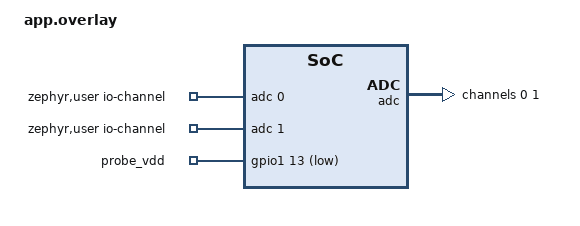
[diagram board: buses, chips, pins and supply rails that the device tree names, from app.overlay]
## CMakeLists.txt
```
#
# Copyright (c) 2024 Olivier DEBON
# SPDX-License-Identifier: AGPL-3.0-or-later
#

cmake_minimum_required(VERSION 3.20.0)

set(DTC_OVERLAY_FILE "app.overlay")
set(BOARD "nrf52840dk_nrf52840")
set(CONF_FILE "prj_power_saving.conf")

find_package(Zephyr REQUIRED HINTS $ENV{ZEPHYR_BASE})

project("Zigbee application Swift Soil Moisture Sensor")

target_sources(app PRIVATE
  src/main.c
  src/adc.c
)

target_include_directories(app PRIVATE include)
```

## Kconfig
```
#
# Copyright (c) 2024 Olivier DEBON
# SPDX-License-Identifier: AGPL-3.0-or-later
#

source "Kconfig.zephyr"

config PROBE_INTERVAL
	int "Probe interval time (seconds)"
	default 1800
```

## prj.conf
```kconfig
#
# Copyright (c) 2024 Olivier DEBON
# SPDX-License-Identifier: AGPL-3.0-or-later
#

CONFIG_NCS_SAMPLES_DEFAULTS=y

# Do not use external 32768Hz xtal
CONFIG_CLOCK_CONTROL_NRF_K32SRC_RC=y
CONFIG_CLOCK_CONTROL_NRF_K32SRC_XTAL=n

CONFIG_PROBE_INTERVAL=60

# LOG configuration
CONFIG_LOG_MODE_DEFERRED=y
CONFIG_LOG_BUFFER_SIZE=4096
CONFIG_LOG_PROCESS_THREAD_STACK_SIZE=1024
CONFIG_LOG_PROCESS_THREAD_STARTUP_DELAY_MS=1000

# Configure serial
CONFIG_UART_INTERRUPT_DRIVEN=y
CONFIG_SERIAL=y
CONFIG_GPIO=y

# Config Analog Digital Converter
CONFIG_ADC=y

# Make sure printk is not printing to the UART console
CONFIG_CONSOLE=y
CONFIG_UART_CONSOLE=y

CONFIG_HEAP_MEM_POOL_SIZE=2048
CONFIG_MAIN_THREAD_PRIORITY=7

CONFIG_ZIGBEE=y
CONFIG_ZIGBEE_APP_UTILS=y
CONFIG_ZIGBEE_ROLE_END_DEVICE=y
CONFIG_ZIGBEE_CHANNEL_SELECTION_MODE_MULTI=y

# Enable DK LED and Buttons library
CONFIG_DK_LIBRARY=y

# This example requires more workqueue stack
CONFIG_SYSTEM_WORKQUEUE_STACK_SIZE=2048

# Enable nRF ECB driver
CONFIG_CRYPTO=y
CONFIG_CRYPTO_NRF_ECB=y
CONFIG_CRYPTO_INIT_PRIORITY=80

# Networking
CONFIG_NET_IPV6=n
CONFIG_NET_IP_ADDR_CHECK=n
CONFIG_NET_UDP=n

# Enable this to duplicate Zephyr logs to default Logger serial backend,
# usually connected to on-board JLink device.
# CONFIG_LOG_BACKEND_UART=y
```

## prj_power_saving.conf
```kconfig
#
# Copyright (c) 2024 Olivier DEBON
# SPDX-License-Identifier: AGPL-3.0-or-later
#

# Do not use external 32768Hz xtal
CONFIG_CLOCK_CONTROL_NRF_K32SRC_RC=y
CONFIG_CLOCK_CONTROL_NRF_K32SRC_XTAL=n

# Power saving
CONFIG_RAM_POWER_DOWN_LIBRARY=y

# Configure serial
CONFIG_SERIAL=n
CONFIG_GPIO=y
CONFIG_CONSOLE=n
CONFIG_UART_CONSOLE=n

# Config Analog Digital Converter
CONFIG_ADC=y

CONFIG_HEAP_MEM_POOL_SIZE=2048
CONFIG_MAIN_THREAD_PRIORITY=7

CONFIG_ZIGBEE=y
CONFIG_ZIGBEE_APP_UTILS=y
CONFIG_ZIGBEE_ROLE_END_DEVICE=y
CONFIG_ZIGBEE_CHANNEL_SELECTION_MODE_MULTI=y

# Enable DK LED and Buttons library
CONFIG_DK_LIBRARY=y

# This example requires more workqueue stack
CONFIG_SYSTEM_WORKQUEUE_STACK_SIZE=2048

# Enable nRF ECB driver
CONFIG_CRYPTO=y
CONFIG_CRYPTO_NRF_ECB=y
CONFIG_CRYPTO_INIT_PRIORITY=80

# Networking
CONFIG_NET_IPV6=n
CONFIG_NET_IP_ADDR_CHECK=n
CONFIG_NET_UDP=n
```

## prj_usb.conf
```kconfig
#
# Copyright (c) 2022 Nordic Semiconductor ASA
#
# SPDX-License-Identifier: LicenseRef-Nordic-5-Clause
#

CONFIG_NCS_SAMPLES_DEFAULTS=y

# LOG configuration
CONFIG_LOG_MODE_DEFERRED=y
CONFIG_LOG_BUFFER_SIZE=4096
CONFIG_LOG_PROCESS_THREAD_STACK_SIZE=1024
CONFIG_LOG_PROCESS_THREAD_STARTUP_DELAY_MS=1000

# Configure serial
CONFIG_UART_INTERRUPT_DRIVEN=y
CONFIG_SERIAL=y
CONFIG_GPIO=y

# Config Analog Digital Converter
CONFIG_ADC=y

# Make sure printk is not printing to the UART console
CONFIG_CONSOLE=y
CONFIG_UART_CONSOLE=y

CONFIG_HEAP_MEM_POOL_SIZE=2048
CONFIG_MAIN_THREAD_PRIORITY=7

CONFIG_ZIGBEE=y
CONFIG_ZIGBEE_APP_UTILS=y
CONFIG_ZIGBEE_ROLE_END_DEVICE=y
CONFIG_ZIGBEE_CHANNEL_SELECTION_MODE_MULTI=y

# Enable DK LED and Buttons library
CONFIG_DK_LIBRARY=y

# This example requires more workqueue stack
CONFIG_SYSTEM_WORKQUEUE_STACK_SIZE=2048

# Enable nRF ECB driver
CONFIG_CRYPTO=y
CONFIG_CRYPTO_NRF_ECB=y
CONFIG_CRYPTO_INIT_PRIORITY=80

# Networking
CONFIG_NET_IPV6=n
CONFIG_NET_IP_ADDR_CHECK=n
CONFIG_NET_UDP=n

# USB subsystem configuration
CONFIG_USB_DEVICE_STACK=y
CONFIG_USB_DEVICE_REMOTE_WAKEUP=n
CONFIG_USB_DEVICE_PRODUCT="Zigbee Template"
CONFIG_USB_CDC_ACM=y
CONFIG_UART_LINE_CTRL=y
# Initialize USB device as soon as possible as the USB CDC ACM is used
# as backend for both Shell and Logging subsystems.
CONFIG_USB_DEVICE_INITIALIZE_AT_BOOT=y

# Enable this to duplicate Zephyr logs to default Logger serial backend,
# usually connected to on-board JLink device.
CONFIG_LOG_BACKEND_UART=y
```

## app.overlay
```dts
/*
 * Copyright (c) 2024 Olivier DEBON
 *
 * Modifications on Nordic examples for this application
 * SPDX-License-Identifier: AGPL-3.0-or-later
 */

&adc {
        #address-cells = <1>;
        #size-cells = <0>;

        channel@0 {
                reg = <0>;
                zephyr,gain = "ADC_GAIN_1_6";
                zephyr,reference = "ADC_REF_INTERNAL";
                zephyr,acquisition-time = <ADC_ACQ_TIME_DEFAULT>;
                zephyr,input-positive = <NRF_SAADC_AIN0>; /* P0.02 */
                zephyr,resolution = <12>;
        };

        channel@1 {
                reg = <1>;
                zephyr,gain = "ADC_GAIN_1_6";
                zephyr,reference = "ADC_REF_INTERNAL";
                zephyr,acquisition-time = <ADC_ACQ_TIME_DEFAULT>;
                zephyr,input-positive = <NRF_SAADC_AIN1>; /* P0.03 */
                zephyr,resolution = <12>;
        };
};

/ {
	zephyr,user {
                io-channels = <&adc 0>, <&adc 1>;
        };

	gpiocustom {
		compatible = "gpio-keys";
		probe_vdd: gpio1_13 {
		    gpios = <&gpio1 13 GPIO_ACTIVE_LOW>;
		};
	};
};
```

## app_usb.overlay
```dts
/*
 * Copyright (c) 2022 Nordic Semiconductor ASA
 *
 * SPDX-License-Identifier: LicenseRef-Nordic-5-Clause
 */

&zephyr_udc0 {
	cdc_acm_uart: cdc_acm_uart {
		compatible = "zephyr,cdc-acm-uart";
	};
};

&adc {
        #address-cells = <1>;
        #size-cells = <0>;

        channel@0 {
                reg = <0>;
                zephyr,gain = "ADC_GAIN_1_6";
                zephyr,reference = "ADC_REF_INTERNAL";
                zephyr,acquisition-time = <ADC_ACQ_TIME_DEFAULT>;
                zephyr,input-positive = <NRF_SAADC_AIN0>; /* P0.02 */
                zephyr,resolution = <12>;
        };

        channel@1 {
                reg = <1>;
                zephyr,gain = "ADC_GAIN_1_6";
                zephyr,reference = "ADC_REF_INTERNAL";
                zephyr,acquisition-time = <ADC_ACQ_TIME_DEFAULT>;
                zephyr,input-positive = <NRF_SAADC_AIN1>; /* P0.03 */
                zephyr,resolution = <12>;
        };
};

/ {
	zephyr,user {
                io-channels = <&adc 0>, <&adc 1>;
        };

	gpiocustom {
		compatible = "gpio-keys";
		probe_vdd: gpio1_15 {
		    gpios = <&gpio1 15 GPIO_ACTIVE_LOW>;
		};
	};
};
```

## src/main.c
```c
/*
 * Copyright (c) 2021 Nordic Semiconductor ASA
 *
 * SPDX-License-Identifier: LicenseRef-Nordic-5-Clause
 */

/*
 * Copyright (c) 2024 Olivier DEBON
 *
 * Modifications on Nordic examples for this application
 * SPDX-License-Identifier: AGPL-3.0-or-later
 */

/** @file
 *
 * @brief Zigbee application swift.
 */

#include <zephyr/kernel.h>
#include <zephyr/logging/log.h>
#include <zephyr/drivers/gpio.h>
#include <zephyr/sys/reboot.h>
#include <dk_buttons_and_leds.h>
#include <ram_pwrdn.h>

#include <stdlib.h>
#include <zboss_api.h>
#include <zboss_api_addons.h>
#include <zigbee/zigbee_error_handler.h>
#include <zigbee/zigbee_app_utils.h>
#include <zb_nrf_platform.h>
#include "zb_swift_device.h"
#include "adc.h"

static const struct gpio_dt_spec probe_vdd = GPIO_DT_SPEC_GET(DT_NODELABEL(probe_vdd), gpios);

/* Device endpoint, used to receive ZCL commands. */
#define APP_SWIFT_ENDPOINT               10

/* Type of power sources available for the device.
 * For possible values see section 3.2.2.2.8 of ZCL specification.
 */
#define SWIFT_INIT_BASIC_POWER_SOURCE    ZB_ZCL_BASIC_POWER_SOURCE_BATTERY

/* LED indicating that device successfully joined Zigbee network. */
#define ZIGBEE_NETWORK_STATE_LED            DK_LED1

/* Probe measurement interval */
#define PROBE_INTERVAL_MS (CONFIG_PROBE_INTERVAL*1000)

LOG_MODULE_REGISTER(app, LOG_LEVEL_INF);

/* Main application customizable context.
 * Stores all settings and static values.
 */
struct zb_device_ctx {
	zb_zcl_basic_attrs_ext_t basic_attr;
	zb_zcl_power_config_attrs_t power_config_attr;
	zb_zcl_rel_humidity_attrs_t rel_humidity_attr;
};

/* Zigbee device application context storage. */
static struct zb_device_ctx dev_ctx;

ZB_ZCL_DECLARE_BASIC_ATTRIB_LIST_EXT(
	basic_attr_list,
	&dev_ctx.basic_attr.zcl_version,
	&dev_ctx.basic_attr.app_version,
	&dev_ctx.basic_attr.stack_version,
	&dev_ctx.basic_attr.hw_version,
	dev_ctx.basic_attr.mf_name,
	dev_ctx.basic_attr.model_id,
	dev_ctx.basic_attr.date_code,
	&dev_ctx.basic_attr.power_source,
	dev_ctx.basic_attr.location_id,
	&dev_ctx.basic_attr.ph_env,
	dev_ctx.basic_attr.sw_ver);

ZB_ZCL_DECLARE_REL_HUMIDITY_MEASUREMENT_ATTRIB_LIST(
	rel_humidity_attr_list,
	&dev_ctx.rel_humidity_attr.value,
	&dev_ctx.rel_humidity_attr.min_value,
	&dev_ctx.rel_humidity_attr.max_value
);

ZB_ZCL_DECLARE_POWER_CONFIG_ATTRIB_LIST2(
	power_config_attr_list,
	&dev_ctx.power_config_attr.voltage,
	&dev_ctx.power_config_attr.percentage_remaining,
	&dev_ctx.power_config_attr.alarm_state
);

ZB_DECLARE_SWIFT_DEVICE_CLUSTER_LIST(app_swift_clusters, basic_attr_list, power_config_attr_list, rel_humidity_attr_list);

ZB_DECLARE_SWIFT_DEVICE_EP(
	app_swift_ep,
	APP_SWIFT_ENDPOINT,
	app_swift_clusters);

ZBOSS_DECLARE_DEVICE_CTX_1_EP(
	app_swift_ctx,
	app_swift_ep);

/* Manufacturer name (32 bytes). */
#define SWIFT_INIT_BASIC_MANUF_NAME      "Swift"

/* Model number assigned by manufacturer (32-bytes long string). */
#define SWIFT_INIT_BASIC_MODEL_ID        "Soil Moisture Sensor"

/* Functions */
void do_battery_measurement();
void do_humidity_measurement(zb_uint8_t param);
void check_join_status(zb_uint8_t param);

/**@brief Function for initializing all clusters attributes. */
static void app_clusters_attr_init(void)
{
	/* Basic cluster attributes data */
	dev_ctx.basic_attr.zcl_version = ZB_ZCL_VERSION;
	dev_ctx.basic_attr.power_source = SWIFT_INIT_BASIC_POWER_SOURCE;

	ZB_ZCL_SET_STRING_VAL(
		dev_ctx.basic_attr.mf_name,
		SWIFT_INIT_BASIC_MANUF_NAME,
		ZB_ZCL_STRING_CONST_SIZE(SWIFT_INIT_BASIC_MANUF_NAME));

	ZB_ZCL_SET_STRING_VAL(
		dev_ctx.basic_attr.model_id,
		SWIFT_INIT_BASIC_MODEL_ID,
		ZB_ZCL_STRING_CONST_SIZE(SWIFT_INIT_BASIC_MODEL_ID));

	/* Power Config attributes data. */
	dev_ctx.power_config_attr.voltage = ZB_ZCL_POWER_CONFIG_BATTERY_VOLTAGE_INVALID;

	do_battery_measurement();

	/* Relative Humidity cluster attributes data. */
	dev_ctx.rel_humidity_attr.value = ZB_ZCL_ATTR_REL_HUMIDITY_MEASUREMENT_VALUE_UNKNOWN;
	dev_ctx.rel_humidity_attr.min_value = ZB_ZCL_ATTR_REL_HUMIDITY_MEASUREMENT_MIN_VALUE_MIN_VALUE;
	dev_ctx.rel_humidity_attr.max_value = ZB_ZCL_ATTR_REL_HUMIDITY_MEASUREMENT_MIN_VALUE_MAX_VALUE;

	ZB_ZCL_SET_ATTRIBUTE(
		APP_SWIFT_ENDPOINT,
		ZB_ZCL_CLUSTER_ID_REL_HUMIDITY_MEASUREMENT,
		ZB_ZCL_CLUSTER_SERVER_ROLE,
		ZB_ZCL_ATTR_REL_HUMIDITY_MEASUREMENT_VALUE_ID,
		(zb_uint8_t *)&dev_ctx.rel_humidity_attr.value,
		ZB_FALSE);

	ZB_ZCL_SET_ATTRIBUTE(
		APP_SWIFT_ENDPOINT,
		ZB_ZCL_CLUSTER_ID_REL_HUMIDITY_MEASUREMENT,
		ZB_ZCL_CLUSTER_SERVER_ROLE,
		ZB_ZCL_ATTR_REL_HUMIDITY_MEASUREMENT_MIN_VALUE_ID,
		(zb_uint8_t *)&dev_ctx.rel_humidity_attr.min_value,
		ZB_FALSE);

	ZB_ZCL_SET_ATTRIBUTE(
		APP_SWIFT_ENDPOINT,
		ZB_ZCL_CLUSTER_ID_REL_HUMIDITY_MEASUREMENT,
		ZB_ZCL_CLUSTER_SERVER_ROLE,
		ZB_ZCL_ATTR_REL_HUMIDITY_MEASUREMENT_MAX_VALUE_ID,
		(zb_uint8_t *)&dev_ctx.rel_humidity_attr.max_value,
		ZB_FALSE);

	// Modify min reporting interval period
	zb_zcl_reporting_info_t *rep_info;

	rep_info = zb_zcl_find_reporting_info(APP_SWIFT_ENDPOINT, ZB_ZCL_CLUSTER_ID_REL_HUMIDITY_MEASUREMENT, ZB_ZCL_CLUSTER_SERVER_ROLE, ZB_ZCL_ATTR_REL_HUMIDITY_MEASUREMENT_VALUE_ID);

	if (rep_info) {
	    rep_info->u.send_info.def_min_interval = PROBE_INTERVAL_MS/1000;
	    rep_info->u.send_info.def_max_interval = 7200; // 2 hours
	} else {
	    LOG_ERR("Can't find HUMIDITY attribute");
	}

	rep_info = zb_zcl_find_reporting_info(APP_SWIFT_ENDPOINT, ZB_ZCL_CLUSTER_ID_POWER_CONFIG, ZB_ZCL_CLUSTER_SERVER_ROLE, ZB_ZCL_ATTR_POWER_CONFIG_BATTERY_PERCENTAGE_REMAINING_ID);

	if (rep_info) {
	    rep_info->u.send_info.def_min_interval = PROBE_INTERVAL_MS/1000;
	    rep_info->u.send_info.def_max_interval = 7200; // 2 hours
	} else {
	    LOG_ERR("Can't find POWER CONFIG attribute");
	}

	/* Install reporting */
	if (RET_OK != zb_zcl_start_attr_reporting(APP_SWIFT_ENDPOINT,
						  ZB_ZCL_CLUSTER_ID_REL_HUMIDITY_MEASUREMENT,
						  ZB_ZCL_CLUSTER_SERVER_ROLE,
						  ZB_ZCL_ATTR_REL_HUMIDITY_MEASUREMENT_VALUE_ID)) {
	    LOG_INF("Failed to start Attribute reporting");
	}

	if (RET_OK != zb_zcl_start_attr_reporting(APP_SWIFT_ENDPOINT,
						  ZB_ZCL_CLUSTER_ID_POWER_CONFIG,
						  ZB_ZCL_CLUSTER_SERVER_ROLE,
						  ZB_ZCL_ATTR_POWER_CONFIG_BATTERY_PERCENTAGE_REMAINING_ID)) {
	    LOG_INF("Failed to start Attribute reporting");
	}
}

/**@brief Function for initializing LEDs and Buttons. */
static void configure_gpio(void)
{
	int err;

	err = dk_buttons_init(NULL);
	if (err) {
		LOG_ERR("Cannot init buttons (err: %d)", err);
	}

	err = dk_leds_init();
	if (err) {
		LOG_ERR("Cannot init LEDs (err: %d)", err);
	}

	if (!gpio_is_ready_dt(&probe_vdd)) {
	    LOG_ERR("Can't get GPIO1.15 ready");
	} else
	if (gpio_pin_configure_dt(&probe_vdd, GPIO_OUTPUT_INACTIVE) < 0) {
	    LOG_ERR("Can't configure GPIO1.15");
	}
}

/**@brief Callback function for handling ZCL commands.
 *
 * @param[in]   bufid   Reference to Zigbee stack buffer
 *                      used to pass received data.
 */
static void zcl_device_cb(zb_bufid_t bufid)
{
	zb_zcl_device_callback_param_t  *device_cb_param =
		ZB_BUF_GET_PARAM(bufid, zb_zcl_device_callback_param_t);

	LOG_INF("%s id %hd", __func__, device_cb_param->device_cb_id);

	/* Set default response value. */
	device_cb_param->status = RET_OK;

	switch (device_cb_param->device_cb_id) {
	default:
		device_cb_param->status = RET_NOT_IMPLEMENTED;
		break;
	}

	LOG_INF("%s status: %hd", __func__, device_cb_param->status);
}

static bool joined = false;
static bool first_start = false;

/**@brief Zigbee stack event handler.
 *
 * @param[in]   bufid   Reference to the Zigbee stack buffer
 *                      used to pass signal.
 */
void zboss_signal_handler(zb_bufid_t bufid)
{
    zb_zdo_app_signal_hdr_t * p_sg_p = NULL;
    zb_zdo_app_signal_type_t sig = zb_get_app_signal(bufid, &p_sg_p);
    zb_ret_t status = ZB_GET_APP_SIGNAL_STATUS(bufid);

    switch (sig) {
    case ZB_BDB_SIGNAL_DEVICE_FIRST_START:
	first_start = true;
	ZB_ERROR_CHECK(zigbee_default_signal_handler(bufid));
	break;
    case ZB_BDB_SIGNAL_DEVICE_REBOOT:
    case ZB_BDB_SIGNAL_STEERING:
	if (status == RET_OK) {
	    LOG_INF("Joined network successfully");
	    /* Change long poll interval once device has joined */
	    zb_zdo_pim_set_long_poll_interval(120*1000); // 2 minutes should be enough

	    joined = true;
	} else {
	    joined = false;
	}
	ZB_ERROR_CHECK(zigbee_default_signal_handler(bufid));
	break;
    case ZB_ZDO_SIGNAL_LEAVE:
	// Wait until Factory reset is released, then RESET
	// Meanwhile fast LED blinking
	while(dk_get_buttons() & DK_BTN3_MSK) {
	    dk_set_led(ZIGBEE_NETWORK_STATE_LED, 0);
	    k_msleep(50);
	    dk_set_led(ZIGBEE_NETWORK_STATE_LED, 1);
	    k_msleep(50);
	}
	sys_reboot(SYS_REBOOT_COLD);
	break;
    case ZB_ZDO_SIGNAL_SKIP_STARTUP:
	if (zigbee_is_stack_started() && (!zb_bdb_is_factory_new()) && (dk_get_buttons() & DK_BTN3_MSK)) {
	    LOG_INF("FACTORY RESET BUTTON pressed at start up - Scheduling Factory Reset");
	    ZB_SCHEDULE_APP_CALLBACK(zb_bdb_reset_via_local_action, 0);
	    break;
	}
	// Fallthru
    default:
	// Call default signal handler.
	ZB_ERROR_CHECK(zigbee_default_signal_handler(bufid));
	break;
    }


    /* All callbacks should either reuse or free passed buffers.
    * If bufid == 0, the buffer is invalid (not passed).
    */
    if (bufid) {
	zb_buf_free(bufid);
    }

}

#define BATTERY_HIGH_100MV 28
#define BATTERY_LOW_100MV 16

void do_battery_measurement() {
	uint8_t battery_voltage;

	battery_voltage = adc_battery(); // 100mv per unit

	if (dev_ctx.power_config_attr.voltage != ZB_ZCL_POWER_CONFIG_BATTERY_VOLTAGE_INVALID) {
	    // Low filter
	    battery_voltage = (uint8_t)(((uint16_t)dev_ctx.power_config_attr.voltage * 3 + (uint16_t)battery_voltage + 2)/4);
	}

	dev_ctx.power_config_attr.voltage = battery_voltage;

	if (battery_voltage > BATTERY_HIGH_100MV) {
	    dev_ctx.power_config_attr.percentage_remaining = 200; // 200 half percent
	} else if (battery_voltage < BATTERY_LOW_100MV) {
	    dev_ctx.power_config_attr.percentage_remaining = 0;
	} else {
	    dev_ctx.power_config_attr.percentage_remaining = (battery_voltage-BATTERY_LOW_100MV)*200/(BATTERY_HIGH_100MV-BATTERY_LOW_100MV);
	}

	LOG_INF("Battery voltage (capacity): %d mv (%d%%)", battery_voltage*100, dev_ctx.power_config_attr.percentage_remaining/2);

	ZB_ZCL_SET_ATTRIBUTE(
		APP_SWIFT_ENDPOINT,
		ZB_ZCL_CLUSTER_ID_POWER_CONFIG,
		ZB_ZCL_CLUSTER_SERVER_ROLE,
		ZB_ZCL_ATTR_POWER_CONFIG_BATTERY_VOLTAGE_ID,
		(zb_uint8_t *)&dev_ctx.power_config_attr.voltage,
		ZB_FALSE);

	ZB_ZCL_SET_ATTRIBUTE(
		APP_SWIFT_ENDPOINT,
		ZB_ZCL_CLUSTER_ID_POWER_CONFIG,
		ZB_ZCL_CLUSTER_SERVER_ROLE,
		ZB_ZCL_ATTR_POWER_CONFIG_BATTERY_PERCENTAGE_REMAINING_ID,
		(zb_uint8_t *)&dev_ctx.power_config_attr.percentage_remaining,
		ZB_FALSE);
}

void do_humidity_measurement(zb_uint8_t param) {
#ifdef VDD_3V
    // These comes from Capacitive Soil Moisture Sensor v1.2 powered by 3.0V
#pragma message("Probe supply 3V")
#define MIN_MV 450
#define MAX_MV 1825
#else
    // These come from Capacitive Soil Moisture Sensor v1.2 powered by 3.3V
#define MIN_MV 910
#define MAX_MV 2160
#endif

#define PROBE_POWERUP_TIME_MS 1000
#define COUNTDOWN_INIT (4*3600*1000/PROBE_INTERVAL_MS)

	int32_t val_mv;
	uint16_t humidity; // 100 x H%
	static uint16_t humidity_last = 0xffff;
	static uint32_t force_report_countdown = COUNTDOWN_INIT; // When falling to 0, 4 hours, force reporting

	dk_set_led(ZIGBEE_NETWORK_STATE_LED, 1);

	// Power on the probe
	gpio_pin_set_dt(&probe_vdd,1);
	k_msleep(PROBE_POWERUP_TIME_MS); // Wait for output to stabilize

	// Measurement
	// Found out that multiple measurements must be done. Either probe or adapter hardware are not reliable.
	// Here we measure voltage every 100ms, if two subsequent values difference is less than 100mV, measurement
	// is considered stable. At most 10 times in a row.
	val_mv = adc_probe();
	k_msleep(100);
	for(int t = 0; t < 10; t++) {
	    int32_t val = val_mv;
	    val_mv = adc_probe();
	    if (abs(val-val_mv) <= 100) break;
	    k_msleep(100);
	}

	dk_set_led(ZIGBEE_NETWORK_STATE_LED, 0);

	// Power off the probe
	gpio_pin_set_dt(&probe_vdd,0);

	if (val_mv < MIN_MV) {
	    humidity = 100; // Max humidity
	} else if (val_mv > MAX_MV) {
	    humidity = 0; // Min humidity
	} else {
	    // MIN_MV => 100% (water)
	    // MAX_MV => 0% (air)
	    humidity = 100-((val_mv - MIN_MV)*100/(MAX_MV-MIN_MV));
	}

	humidity *= 100;

	// Low filter
	if (humidity_last != 0xffff) {
	    humidity = (humidity_last*3 + humidity +2)/4;
	}

	LOG_INF("Mean %dmv -> Humidity %d [%d]", val_mv, humidity, humidity_last);

	if (humidity/100 != humidity_last/100 || (force_report_countdown-- == 0)) {
	    force_report_countdown = COUNTDOWN_INIT;

	    do_battery_measurement(); // Take opportunity to update battery health

	    dev_ctx.rel_humidity_attr.value = (humidity/10)*10; // Rounding at 10th

	    ZB_ZCL_SET_ATTRIBUTE(
		    APP_SWIFT_ENDPOINT,
		    ZB_ZCL_CLUSTER_ID_REL_HUMIDITY_MEASUREMENT,
		    ZB_ZCL_CLUSTER_SERVER_ROLE,
		    ZB_ZCL_ATTR_REL_HUMIDITY_MEASUREMENT_VALUE_ID,
		    (zb_uint8_t *)&dev_ctx.rel_humidity_attr.value,
		    ZB_FALSE);

	    LOG_INF("Updating humidity value: %d%%", humidity/100);
	}

	humidity_last = humidity;

	if (first_start) {
	    ZB_SCHEDULE_APP_ALARM(do_humidity_measurement, 0, ZB_MILLISECONDS_TO_BEACON_INTERVAL(15000)); // Shorten delay of next measurement
	    first_start = false;
	    force_report_countdown = 0; // Ugly, but this will force report on next call
	} else {
	    ZB_SCHEDULE_APP_ALARM(do_humidity_measurement, 0, ZB_MILLISECONDS_TO_BEACON_INTERVAL(PROBE_INTERVAL_MS));
	}
}

#define NETWORK_LED_PERIOD_MS 200

void check_join_status(zb_uint8_t param) {
    static uint8_t led_state = 1;

    if (joined) {
	// Light off LED and start measurements
	dk_set_led(ZIGBEE_NETWORK_STATE_LED, 0);
	do_humidity_measurement(0);
	return;
    }

    led_state ^= 1;

    dk_set_led(ZIGBEE_NETWORK_STATE_LED, led_state);

    ZB_SCHEDULE_APP_ALARM(check_join_status, 0, ZB_MILLISECONDS_TO_BEACON_INTERVAL(NETWORK_LED_PERIOD_MS));
}

int main(void)
{
	LOG_INF("Starting ADC reading on AIN0 and AIN1");
	adc_setup();

	LOG_INF("Starting Zigbee application swift example");

	/* Initialize */
	configure_gpio();

	/* Set Led on at startup */
	dk_set_led(ZIGBEE_NETWORK_STATE_LED, 1);

	/* Register callback for handling ZCL commands. */
	ZB_ZCL_REGISTER_DEVICE_CB(zcl_device_cb);

	/* Register device context (endpoints). */
	ZB_AF_REGISTER_DEVICE_CTX(&app_swift_ctx);

	app_clusters_attr_init();

	/* Set Sleepy End Device mode */
	zigbee_configure_sleepy_behavior(true);

	zb_set_ed_timeout(ED_AGING_TIMEOUT_256MIN);

	/* Save power */
#if CONFIG_RAM_POWER_DOWN_LIBRARY == 1
	power_down_unused_ram();
#endif

	/* Start Zigbee default thread */
	zigbee_enable();

	LOG_INF("Zigbee application swift started");

	ZB_SCHEDULE_APP_ALARM(check_join_status, 0, ZB_MILLISECONDS_TO_BEACON_INTERVAL(NETWORK_LED_PERIOD_MS));

	return 0;
}
```

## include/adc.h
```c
#ifndef _ADC_H_
#define _ADC_H_

/*
 * Copyright (c) 2024 Olivier DEBON
 *
 * SPDX-License-Identifier: AGPL-3.0-or-later
 */

int adc_setup(void); // Set up ADC drivers and inputs
int32_t adc_probe(void); // Read Moisture Probe value, returns mv
uint8_t adc_battery(void); // Read Battery voltage, returns percentage

#endif
```

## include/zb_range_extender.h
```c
/*
 * Copyright (c) 2022 Nordic Semiconductor ASA
 *
 * SPDX-License-Identifier: LicenseRef-Nordic-5-Clause
 */

#ifndef ZB_RANGE_EXTENDER_H
#define ZB_RANGE_EXTENDER_H 1

/**
 *  @defgroup ZB_DEFINE_DEVICE_RANGE_EXTENDER Range Extender
 *  @{
 *  @details
 *      - @ref ZB_ZCL_IDENTIFY \n
 *      - @ref ZB_ZCL_BASIC
 */

/** Range Extender Device ID*/
#define ZB_RANGE_EXTENDER_DEVICE_ID 0x0008

/** Range extender device version */
#define ZB_DEVICE_VER_RANGE_EXTENDER 0

/** @cond internals_doc */

/** Range extender IN (server) clusters number */
#define ZB_RANGE_EXTENDER_IN_CLUSTER_NUM 3

/** Range extender OUT (client) clusters number */
#define ZB_RANGE_EXTENDER_OUT_CLUSTER_NUM 0

#define ZB_RANGE_EXTENDER_CLUSTER_NUM \
	(ZB_RANGE_EXTENDER_IN_CLUSTER_NUM + ZB_RANGE_EXTENDER_OUT_CLUSTER_NUM)

/** Number of attribute for reporting on Range extender device */
#define ZB_RANGE_EXTENDER_REPORT_ATTR_COUNT 0

/** @endcond */ /* internals_doc */

/**
 * @brief Declare cluster list for Range extender device
 * @param cluster_list_name - cluster list variable name
 * @param basic_attr_list - attribute list for Basic cluster
 * @param identify_attr_list - attribute list for Identify cluster
 */
#define ZB_DECLARE_RANGE_EXTENDER_CLUSTER_LIST(			      \
		cluster_list_name,				      \
		basic_attr_list,				      \
		identify_attr_list,				      \
		on_off_attr_list)				      \
zb_zcl_cluster_desc_t cluster_list_name[] =			      \
{								      \
	ZB_ZCL_CLUSTER_DESC(					      \
		ZB_ZCL_CLUSTER_ID_IDENTIFY,			      \
		ZB_ZCL_ARRAY_SIZE(identify_attr_list, zb_zcl_attr_t), \
		(identify_attr_list),				      \
		ZB_ZCL_CLUSTER_SERVER_ROLE,			      \
		ZB_ZCL_MANUF_CODE_INVALID			      \
	),							      \
	ZB_ZCL_CLUSTER_DESC(					      \
		ZB_ZCL_CLUSTER_ID_BASIC,			      \
		ZB_ZCL_ARRAY_SIZE(basic_attr_list, zb_zcl_attr_t),    \
		(basic_attr_list),				      \
		ZB_ZCL_CLUSTER_SERVER_ROLE,			      \
		ZB_ZCL_MANUF_CODE_INVALID			      \
	),							      \
	ZB_ZCL_CLUSTER_DESC(					      \
		ZB_ZCL_CLUSTER_ID_ON_OFF,			      \
		ZB_ZCL_ARRAY_SIZE(on_off_attr_list, zb_zcl_attr_t),   \
		(on_off_attr_list),				      \
		ZB_ZCL_CLUSTER_SERVER_ROLE,			      \
		ZB_ZCL_MANUF_CODE_INVALID			      \
	)							      \
}

/** @cond internals_doc */

/**
 * @brief Declare simple descriptor for Range extender device
 * @param ep_name - endpoint variable name
 * @param ep_id - endpoint ID
 * @param in_clust_num - number of supported input clusters
 * @param out_clust_num - number of supported output clusters
 */
#define ZB_ZCL_DECLARE_RANGE_EXTENDER_SIMPLE_DESC(ep_name, ep_id, in_clust_num, out_clust_num) \
	ZB_DECLARE_SIMPLE_DESC(in_clust_num, out_clust_num);				       \
	ZB_AF_SIMPLE_DESC_TYPE(in_clust_num, out_clust_num) simple_desc_##ep_name =	       \
	{										       \
		ep_id,									       \
		ZB_AF_HA_PROFILE_ID,							       \
		ZB_RANGE_EXTENDER_DEVICE_ID,						       \
		ZB_DEVICE_VER_RANGE_EXTENDER,						       \
		0,									       \
		in_clust_num,								       \
		out_clust_num,								       \
		{									       \
			ZB_ZCL_CLUSTER_ID_BASIC,					       \
			ZB_ZCL_CLUSTER_ID_IDENTIFY,					       \
			ZB_ZCL_CLUSTER_ID_ON_OFF					       \
		}									       \
	}

/** @endcond */ /* internals_doc */

/**
 * @brief Declare endpoint for Range extender device
 * @param ep_name - endpoint variable name
 * @param ep_id - endpoint ID
 * @param cluster_list - endpoint cluster list
 */
#define ZB_DECLARE_RANGE_EXTENDER_EP(ep_name, ep_id, cluster_list)		      \
	ZB_ZCL_DECLARE_RANGE_EXTENDER_SIMPLE_DESC(ep_name, ep_id,		      \
		ZB_RANGE_EXTENDER_IN_CLUSTER_NUM, ZB_RANGE_EXTENDER_OUT_CLUSTER_NUM); \
	ZB_AF_DECLARE_ENDPOINT_DESC(ep_name, ep_id, ZB_AF_HA_PROFILE_ID, 0, NULL,     \
		ZB_ZCL_ARRAY_SIZE(cluster_list, zb_zcl_cluster_desc_t), cluster_list, \
			(zb_af_simple_desc_1_1_t *)&simple_desc_##ep_name,	      \
			0, NULL, /* No reporting ctx */				      \
			0, NULL) /* No CVC ctx */

/*! @} */

#endif /* ZB_RANGE_EXTENDER_H */
```

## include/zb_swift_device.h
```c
/*
 * Copyright (c) 2022 Nordic Semiconductor ASA
 *
 * SPDX-License-Identifier: LicenseRef-Nordic-5-Clause
 */

/*
 * Copyright (c) 2024 Olivier DEBON
 *
 * SPDX-License-Identifier: AGPL-3.0-or-later
 */

#ifndef ZB_SWIFT_DEVICE_H
#define ZB_SWIFT_DEVICE_H 1

/**
 *  @defgroup ZB_DEFINE_DEVICE_SWIFT_DEVICE
 *  @{
 *  @details
 *      - @ref ZB_ZCL_IDENTIFY \n
 *      - @ref ZB_ZCL_BASIC
 */

/** Swift Device ID*/
#define ZB_SWIFT_DEVICE_DEVICE_ID 0x0008

/** Swift Device version */
#define ZB_DEVICE_VER_SWIFT_DEVICE 0

/** @cond internals_doc */

/** Swift Device IN (server) clusters number */
#define ZB_SWIFT_DEVICE_IN_CLUSTER_NUM 3

/** Swift Device OUT (client) clusters number */
#define ZB_SWIFT_DEVICE_OUT_CLUSTER_NUM 0

#define ZB_SWIFT_DEVICE_CLUSTER_NUM \
	(ZB_SWIFT_DEVICE_IN_CLUSTER_NUM + ZB_SWIFT_DEVICE_OUT_CLUSTER_NUM)

/** Number of attributes for reporting on Swift Device */
#define ZB_SWIFT_DEVICE_REPORT_ATTR_COUNT (ZB_ZCL_REL_HUMIDITY_MEASUREMENT_REPORT_ATTR_COUNT+ZB_ZCL_POWER_CONFIG_REPORT_ATTR_COUNT)

/** Missing attributes structure declaration **/
typedef struct {
    zb_uint16_t value;
    zb_uint16_t min_value;
    zb_uint16_t max_value;
} zb_zcl_rel_humidity_attrs_t;


#define ZB_ZCL_DECLARE_POWER_CONFIG_ATTRIB_LIST2(attr_list,                                   \
                                                 voltage, remaining, alarm_state)       \
  ZB_ZCL_START_DECLARE_ATTRIB_LIST_CLUSTER_REVISION(attr_list, ZB_ZCL_POWER_CONFIG)          \
  ZB_SET_ATTR_DESCR_WITH_ZB_ZCL_ATTR_POWER_CONFIG_BATTERY_VOLTAGE_ID(voltage, ),             \
  ZB_SET_ATTR_DESCR_WITH_ZB_ZCL_ATTR_POWER_CONFIG_BATTERY_PERCENTAGE_REMAINING_ID(remaining, ), \
  ZB_SET_ATTR_DESCR_WITH_ZB_ZCL_ATTR_POWER_CONFIG_BATTERY_ALARM_STATE_ID(alarm_state, ), \
  ZB_ZCL_FINISH_DECLARE_ATTRIB_LIST

typedef struct {
    zb_uint8_t voltage;
    zb_uint8_t percentage_remaining; // Reportable
    zb_uint8_t alarm_state; // Reportable
} zb_zcl_power_config_attrs_t;

/** @endcond */ /* internals_doc */

/**
 * @brief Declare cluster list for Swift Device device
 * @param cluster_list_name - cluster list variable name
 * @param basic_attr_list - attribute list for Basic cluster
 * @param power_attr_list - attribute list for Power Config cluster
 * @param rh_humidity_attr_list - attribute list for Relative Humidity Cluster
 */
#define ZB_DECLARE_SWIFT_DEVICE_CLUSTER_LIST(			      \
		cluster_list_name,				      \
		basic_attr_list,				      \
		power_attr_list,				      \
		rh_humidity_attr_list)				      \
zb_zcl_cluster_desc_t cluster_list_name[] =			      \
{								      \
	ZB_ZCL_CLUSTER_DESC(					      \
		ZB_ZCL_CLUSTER_ID_BASIC,			      \
		ZB_ZCL_ARRAY_SIZE(basic_attr_list, zb_zcl_attr_t),    \
		(basic_attr_list),				      \
		ZB_ZCL_CLUSTER_SERVER_ROLE,			      \
		ZB_ZCL_MANUF_CODE_INVALID			      \
	),							      \
	ZB_ZCL_CLUSTER_DESC(					      \
		ZB_ZCL_CLUSTER_ID_POWER_CONFIG,			      \
		ZB_ZCL_ARRAY_SIZE(power_attr_list, zb_zcl_attr_t),    \
		(power_attr_list),				      \
		ZB_ZCL_CLUSTER_SERVER_ROLE,			      \
		ZB_ZCL_MANUF_CODE_INVALID			      \
	),							      \
	ZB_ZCL_CLUSTER_DESC(					      \
		ZB_ZCL_CLUSTER_ID_REL_HUMIDITY_MEASUREMENT,	      \
		ZB_ZCL_ARRAY_SIZE(rh_humidity_attr_list, zb_zcl_attr_t),   \
		(rh_humidity_attr_list),			      \
		ZB_ZCL_CLUSTER_SERVER_ROLE,			      \
		ZB_ZCL_MANUF_CODE_INVALID			      \
	)							      \
}

/** @cond internals_doc */

/**
 * @brief Declare simple descriptor for Swift Device
 * @param ep_name - endpoint variable name
 * @param ep_id - endpoint ID
 * @param in_clust_num - number of supported input clusters
 * @param out_clust_num - number of supported output clusters
 */
#define ZB_ZCL_DECLARE_SWIFT_DEVICE_SIMPLE_DESC(ep_name, ep_id, in_clust_num, out_clust_num) \
	ZB_DECLARE_SIMPLE_DESC(in_clust_num, out_clust_num);				       \
	ZB_AF_SIMPLE_DESC_TYPE(in_clust_num, out_clust_num) simple_desc_##ep_name =	       \
	{										       \
		ep_id,									       \
		ZB_AF_HA_PROFILE_ID,							       \
		ZB_SWIFT_DEVICE_DEVICE_ID,						       \
		ZB_DEVICE_VER_SWIFT_DEVICE,						       \
		0,									       \
		in_clust_num,								       \
		out_clust_num,								       \
		{									       \
			ZB_ZCL_CLUSTER_ID_BASIC,					       \
			ZB_ZCL_CLUSTER_ID_POWER_CONFIG,					       \
			ZB_ZCL_CLUSTER_ID_REL_HUMIDITY_MEASUREMENT			       \
		}									       \
	}

/** @endcond */ /* internals_doc */

/**
 * @brief Declare endpoint for Swift Device
 * @param ep_name - endpoint variable name
 * @param ep_id - endpoint ID
 * @param cluster_list - endpoint cluster list
 */
#define ZB_DECLARE_SWIFT_DEVICE_EP(ep_name, ep_id, cluster_list)		      \
	ZB_ZCL_DECLARE_SWIFT_DEVICE_SIMPLE_DESC(ep_name, ep_id,		      \
		ZB_SWIFT_DEVICE_IN_CLUSTER_NUM, ZB_SWIFT_DEVICE_OUT_CLUSTER_NUM); \
	ZBOSS_DEVICE_DECLARE_REPORTING_CTX(reporting_info## ep_name,		      \
		ZB_SWIFT_DEVICE_REPORT_ATTR_COUNT);				      \
	ZB_AF_DECLARE_ENDPOINT_DESC(ep_name, ep_id, ZB_AF_HA_PROFILE_ID, 0, NULL,     \
		ZB_ZCL_ARRAY_SIZE(cluster_list, zb_zcl_cluster_desc_t), cluster_list, \
			(zb_af_simple_desc_1_1_t *)&simple_desc_##ep_name,	      \
			ZB_SWIFT_DEVICE_REPORT_ATTR_COUNT, reporting_info## ep_name,  \
			0, NULL) /* No CVC ctx */

/*! @} */

#endif /* ZB_SWIFT_DEVICE_H */
```

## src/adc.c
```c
/*
 * Copyright (c) 2020 Libre Solar Technologies GmbH
 *
 * SPDX-License-Identifier: Apache-2.0
 */

/*
 * Copyright (c) 2024 Olivier DEBON
 *
 * Modifications on Nordic examples for this application
 * SPDX-License-Identifier: AGPL-3.0-or-later
 */

#include <inttypes.h>
#include <stddef.h>
#include <stdint.h>

#include <zephyr/device.h>
#include <zephyr/devicetree.h>
#include <zephyr/drivers/adc.h>
#include <zephyr/kernel.h>
#include <zephyr/logging/log.h>

LOG_MODULE_REGISTER(adc, LOG_LEVEL_INF);

#if !DT_NODE_EXISTS(DT_PATH(zephyr_user)) || \
	!DT_NODE_HAS_PROP(DT_PATH(zephyr_user), io_channels)
#error "No suitable devicetree overlay specified"
#endif

#define DT_SPEC_AND_COMMA(node_id, prop, idx) \
	ADC_DT_SPEC_GET_BY_IDX(node_id, idx),

/* Data of ADC io-channels specified in devicetree. */
static const struct adc_dt_spec adc_channels[] = {
	DT_FOREACH_PROP_ELEM(DT_PATH(zephyr_user), io_channels,
			     DT_SPEC_AND_COMMA)
};

int adc_setup(void)
{
	int err;

	/* Configure channel 0 prior to sampling. */
	if (!device_is_ready(adc_channels[0].dev)) {
		LOG_ERR("ADC controller device %s not ready\n", adc_channels[0].dev->name);
		return 0;
	}

	err = adc_channel_setup_dt(&adc_channels[0]);
	if (err < 0) {
		LOG_ERR("Could not setup channel 0 (%d)\n", err);
		return 0;
	}

	/* Configure channel 1 prior to sampling. */
	if (!device_is_ready(adc_channels[1].dev)) {
		LOG_ERR("ADC controller device %s not ready\n", adc_channels[1].dev->name);
		return 0;
	}

	err = adc_channel_setup_dt(&adc_channels[1]);
	if (err < 0) {
		LOG_ERR("Could not setup channel 1 (%d)\n", err);
		return 0;
	}

	return 1; // Ok
}

int32_t adc_probe()
{
	int err;
	uint16_t buf;
	struct adc_sequence sequence = {
		.buffer = &buf,
		/* buffer size in bytes, not number of samples */
		.buffer_size = sizeof(buf),
	};
	int32_t val_mv;

	(void)adc_sequence_init_dt(&adc_channels[0], &sequence);

	err = adc_read(adc_channels[0].dev, &sequence);
	if (err < 0) {
		LOG_ERR("Could not read (%d)\n", err);
		return -1;
	}

	val_mv = (int32_t)((int16_t)buf);

	err = adc_raw_to_millivolts_dt(&adc_channels[0], &val_mv);

	LOG_INF("- %s, channel %d: %"PRId32" mV", adc_channels[0].dev->name, adc_channels[0].channel_id, val_mv);

	return val_mv;
}

uint8_t adc_battery()
{
	int err;
	uint16_t buf;
	struct adc_sequence sequence = {
		.buffer = &buf,
		/* buffer size in bytes, not number of samples */
		.buffer_size = sizeof(buf),
	};
	int32_t val_mv;

	(void)adc_sequence_init_dt(&adc_channels[1], &sequence);

	err = adc_read(adc_channels[1].dev, &sequence);
	if (err < 0) {
		LOG_ERR("Could not read (%d)\n", err);
		return -1;
	}

	val_mv = (int32_t)((int16_t)buf);

	err = adc_raw_to_millivolts_dt(&adc_channels[0], &val_mv);

	LOG_INF("- %s, channel %d: %"PRId32" mV", adc_channels[1].dev->name, adc_channels[1].channel_id, val_mv);

	return (uint8_t)(val_mv/100);
}
```
